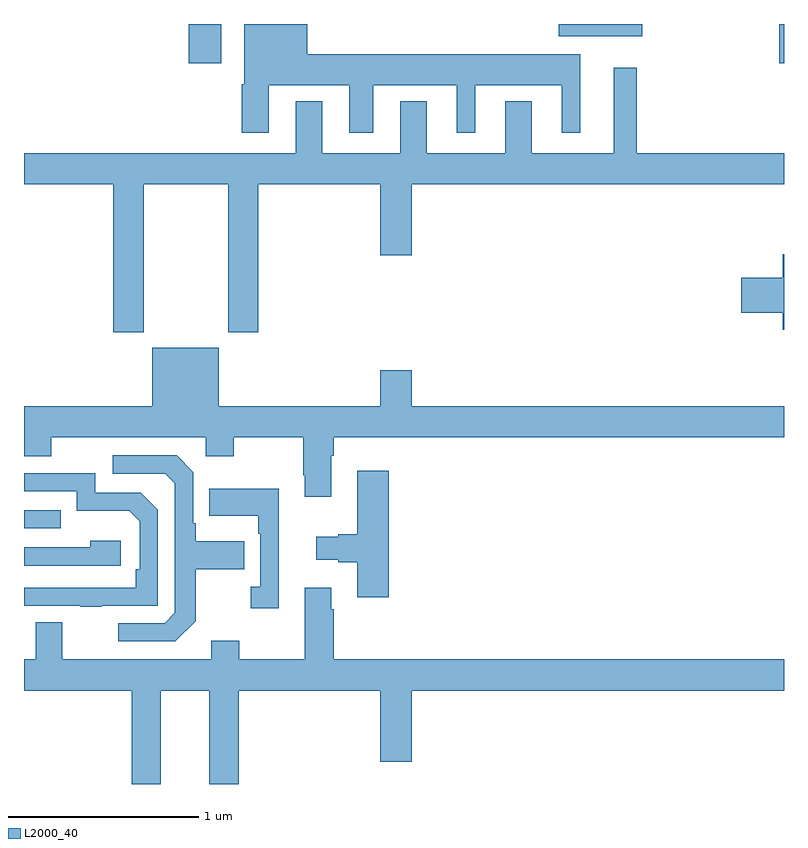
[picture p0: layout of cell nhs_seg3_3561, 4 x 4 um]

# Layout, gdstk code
import gdstk
lib = gdstk.Library(unit=1e-6, precision=1e-09)
def R(c, l, rs):  # rectangles x0, y0, x1, y1
    for r in rs: c.add(gdstk.rectangle(r[:2], r[2:], *l))
def P(c, l, *ps):  # polygons
    for p in ps: c.add(gdstk.Polygon(p, *l))
L2000_40 = (2000, 40)

nhs_seg3_3561 = lib.new_cell('nhs_seg3_3561')
R(nhs_seg3_3561, L2000_40, [(295,725.745,295.193,725.841), (295.868,728.193,296.038,728.4), (298.976,728.193,299,728.4), (297.815,728.336,298.253,728.4)])
P(nhs_seg3_3561, L2000_40, [(296.287,728.078),(296.711,728.078),(296.711,727.827),(296.839,727.827),(296.839,728.078),(297.278,728.078),(297.278,727.827),(297.376,727.827),(297.376,728.078),(297.83,728.078),(297.83,727.827),(297.928,727.827),(297.928,728.242),(296.491,728.242),(296.491,728.4),(296.159,728.4),(296.159,728.082),(296.147,728.082),(296.147,727.827),(296.287,727.827)],
  [(295.629,727.556),(296.074,727.556),(296.074,726.777),(296.234,726.777),(296.234,727.556),(296.876,727.556),(296.876,727.182),(297.04,727.182),(297.04,727.556),(299,727.556),(299,727.72),(298.225,727.72),(298.225,728.17),(298.103,728.17),(298.103,727.72),(297.673,727.72),(297.673,727.993),(297.533,727.993),(297.533,727.72),(297.121,727.72),(297.121,727.993),(296.981,727.993),(296.981,727.72),(296.569,727.72),(296.569,727.993),(296.429,727.993),(296.429,727.72),(295,727.72),(295,727.556),(295.469,727.556),(295.469,726.777),(295.629,726.777)],
  [(299,727.187),(298.994,727.187),(298.994,727.064),(298.776,727.064),(298.776,726.881),(298.994,726.881),(298.994,726.79),(299,726.79)],
  [(299,726.388),(297.04,726.388),(297.04,726.577),(296.876,726.577),(296.876,726.388),(296.026,726.388),(296.026,726.697),(295.676,726.697),(295.676,726.388),(295,726.388),(295,726.125),(295.143,726.125),(295.143,726.224),(295.956,726.224),(295.956,726.125),(296.103,726.125),(296.103,726.224),(296.47,726.224),(296.47,726.025),(296.477,726.025),(296.477,725.913),(296.617,725.913),(296.617,726.128),(296.63,726.128),(296.63,726.224),(299,726.224)],
  [(295.903,725.257),(295.903,725.53),(296.159,725.53),(296.159,725.677),(295.903,725.677),(295.903,725.773),(295.89,725.773),(295.89,726.042),(295.803,726.129),(295.467,726.129),(295.467,726.033),(295.743,726.033),(295.794,725.982),(295.794,725.301),(295.74,725.247),(295.497,725.247),(295.497,725.151),(295.797,725.151)],
  [(296.921,726.049),(296.753,726.049),(296.753,725.714),(296.654,725.714),(296.654,725.701),(296.538,725.701),(296.538,725.579),(296.654,725.579),(296.654,725.567),(296.753,725.567),(296.753,725.382),(296.921,725.382)],
  [(295.409,725.337),(295.704,725.337),(295.704,725.844),(295.614,725.934),(295.374,725.934),(295.374,726.036),(295,726.036),(295,725.94),(295.278,725.94),(295.278,725.837),(295.555,725.837),(295.608,725.784),(295.608,725.53),(295.588,725.53),(295.588,725.433),(295,725.433),(295,725.337),(295.297,725.337),(295.297,725.332),(295.409,725.332)],
  [(296.342,725.953),(295.975,725.953),(295.975,725.813),(296.232,725.813),(296.232,725.717),(296.244,725.717),(296.244,725.438),(296.193,725.438),(296.193,725.325),(296.342,725.325)],
  [(295.51,725.68),(295.349,725.68),(295.349,725.646),(295,725.646),(295,725.55),(295.51,725.55)],
  [(296.876,724.518),(297.04,724.518),(297.04,724.892),(299,724.892),(299,725.056),(296.63,725.056),(296.63,725.321),(296.617,725.321),(296.617,725.434),(296.477,725.434),(296.477,725.056),(296.133,725.056),(296.133,725.155),(295.985,725.155),(295.985,725.056),(295.201,725.056),(295.201,725.251),(295.061,725.251),(295.061,725.056),(295,725.056),(295,724.892),(295.568,724.892),(295.568,724.4),(295.72,724.4),(295.72,724.892),(295.976,724.892),(295.976,724.4),(296.129,724.4),(296.129,724.892),(296.876,724.892)])

lib.write_gds('nhs_seg3_3561.gds')
